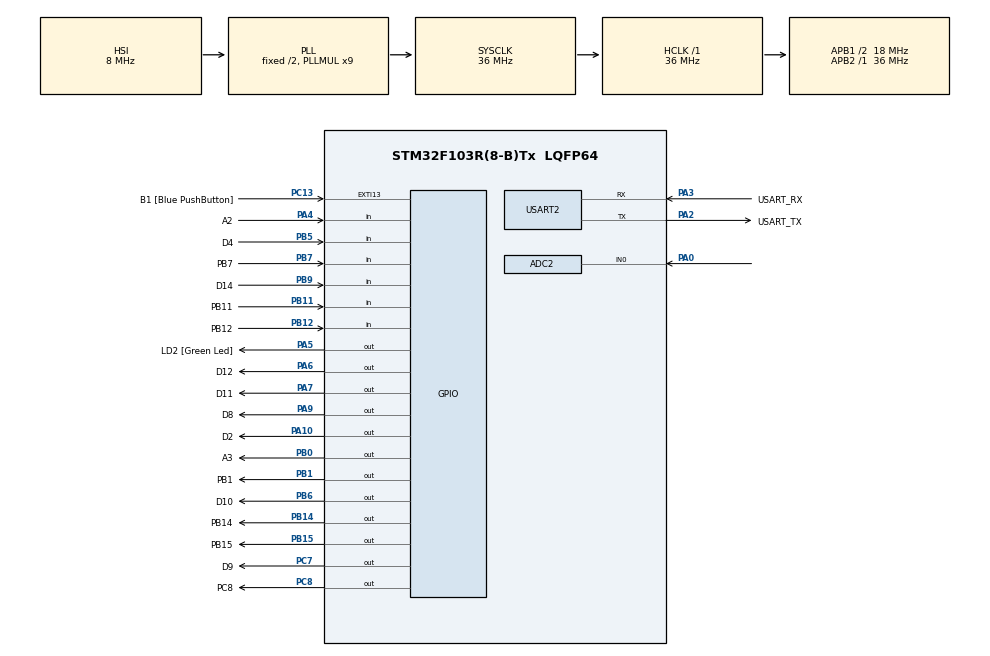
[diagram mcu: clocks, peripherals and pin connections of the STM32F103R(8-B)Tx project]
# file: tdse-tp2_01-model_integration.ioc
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ADC1.Channel-2\#ChannelRegularConversion=ADC_CHANNEL_TEMPSENSOR
ADC1.ExternalTrigConv=ADC_SOFTWARE_START
ADC1.NbrOfConversion=1
ADC1.NbrOfConversionFlag=1
ADC1.Rank-2\#ChannelRegularConversion=1
ADC1.SamplingTime-2\#ChannelRegularConversion=ADC_SAMPLETIME_1CYCLE_5
ADC1.master=1
ADC2.Channel-0\#ChannelRegularConversion=ADC_CHANNEL_0
ADC2.NbrOfConversionFlag=1
ADC2.Rank-0\#ChannelRegularConversion=1
ADC2.SamplingTime-0\#ChannelRegularConversion=ADC_SAMPLETIME_1CYCLE_5
Mcu.Family=STM32F1
Mcu.Name=STM32F103R(8-B)Tx
Mcu.Package=LQFP64
NVIC.ADC1_2_IRQn=true\:0\:0\:false\:false\:true\:true\:true\:true
NVIC.PriorityGroup=NVIC_PRIORITYGROUP_4
PA0-WKUP.Signal=ADCx_IN0
PA10.GPIO_Label=D2
PA10.GPIO_PuPd=GPIO_PULLDOWN
PA10.Signal=GPIO_Output
PA13.GPIO_Label=TMS
PA13.Mode=Serial_Wire
PA13.Signal=SYS_JTMS-SWDIO
PA14.GPIO_Label=TCK
PA14.Mode=Serial_Wire
PA14.Signal=SYS_JTCK-SWCLK
PA2.GPIO_Label=USART_TX
PA2.GPIO_Mode=GPIO_MODE_AF_PP
PA2.GPIO_PuPd=GPIO_NOPULL
PA2.GPIO_Speed=GPIO_SPEED_FREQ_LOW
PA2.Mode=Asynchronous
PA2.Signal=USART2_TX
PA3.GPIO_Label=USART_RX
PA3.GPIO_Mode=GPIO_MODE_AF_PP
PA3.GPIO_PuPd=GPIO_NOPULL
PA3.GPIO_Speed=GPIO_SPEED_FREQ_LOW
PA3.Mode=Asynchronous
PA3.Signal=USART2_RX
PA4.GPIO_Label=A2
PA4.GPIO_PuPd=GPIO_PULLUP
PA4.Signal=GPIO_Input
PA5.GPIO_Label=LD2 [Green Led]
PA5.GPIO_ModeDefaultOutputPP=GPIO_MODE_OUTPUT_PP
PA5.GPIO_PuPd=GPIO_PULLDOWN
PA5.GPIO_Speed=GPIO_SPEED_FREQ_LOW
PA5.Signal=GPIO_Output
PA6.GPIO_Label=D12
PA6.GPIO_PuPd=GPIO_PULLDOWN
PA6.Signal=GPIO_Output
PA7.GPIO_Label=D11
PA7.GPIO_PuPd=GPIO_PULLDOWN
PA7.Signal=GPIO_Output
PA9.GPIO_Label=D8
PA9.GPIO_PuPd=GPIO_PULLDOWN
PA9.Signal=GPIO_Output
PB0.GPIO_Label=A3
PB0.GPIO_PuPd=GPIO_PULLDOWN
PB0.Signal=GPIO_Output
PB1.GPIO_Label=PB1
PB1.GPIO_PuPd=GPIO_PULLDOWN
PB1.Signal=GPIO_Output
PB11.GPIO_Label=PB11
PB11.GPIO_PuPd=GPIO_PULLUP
PB11.Signal=GPIO_Input
PB12.GPIO_Label=PB12
PB12.GPIO_PuPd=GPIO_PULLUP
PB12.Signal=GPIO_Input
PB14.GPIO_Label=PB14
PB14.GPIO_PuPd=GPIO_PULLDOWN
PB14.Signal=GPIO_Output
PB15.GPIO_Label=PB15
PB15.GPIO_PuPd=GPIO_PULLDOWN
PB15.Signal=GPIO_Output
PB3.GPIO_Label=SWO
PB3.Signal=SYS_JTDO-TRACESWO
PB5.GPIO_Label=D4
PB5.GPIO_PuPd=GPIO_PULLUP
PB5.Signal=GPIO_Input
PB6.GPIO_Label=D10
PB6.GPIO_PuPd=GPIO_PULLDOWN
PB6.Signal=GPIO_Output
PB7.GPIO_Label=PB7
PB7.GPIO_PuPd=GPIO_PULLUP
PB7.Signal=GPIO_Input
PB9.GPIO_Label=D14
PB9.GPIO_PuPd=GPIO_PULLUP
PB9.Signal=GPIO_Input
PC13-TAMPER-RTC.GPIO_Label=B1 [Blue PushButton]
PC13-TAMPER-RTC.GPIO_PuPd=GPIO_NOPULL
PC13-TAMPER-RTC.Signal=GPXTI13
PC14-OSC32_IN.Mode=LSE-External-Oscillator
PC14-OSC32_IN.Signal=RCC_OSC32_IN
PC15-OSC32_OUT.Mode=LSE-External-Oscillator
PC15-OSC32_OUT.Signal=RCC_OSC32_OUT
PC7.GPIO_Label=D9
PC7.GPIO_PuPd=GPIO_PULLDOWN
PC7.Signal=GPIO_Output
PC8.GPIO_Label=PC8
PC8.GPIO_PuPd=GPIO_PULLDOWN
PC8.Signal=GPIO_Output
PD0-OSC_IN.Signal=RCC_OSC_IN
PD1-OSC_OUT.Signal=RCC_OSC_OUT
ProjectManager.HeapSize=0x200
ProjectManager.StackSize=0x400
ProjectManager.TargetToolchain=STM32CubeIDE
RCC.ADCPresc=RCC_ADCPCLK2_DIV6
RCC.AHBFreq_Value=36000000
RCC.APB1CLKDivider=RCC_HCLK_DIV2
RCC.APB1Freq_Value=18000000
RCC.APB1TimFreq_Value=36000000
RCC.APB2Freq_Value=36000000
RCC.APB2TimFreq_Value=36000000
RCC.HCLKFreq_Value=36000000
RCC.PLLMUL=RCC_PLL_MUL9
RCC.RTCClockSelection=RCC_RTCCLKSOURCE_LSE
RCC.SYSCLKFreq_VALUE=36000000
RCC.SYSCLKSource=RCC_SYSCLKSOURCE_PLLCLK
RCC.USBFreq_Value=36000000
SH.ADCx_IN0.0=ADC2_IN0,IN0
USART2.VirtualMode=VM_ASYNC
VP_ADC1_TempSens_Input.Mode=IN-TempSens
board=NUCLEO-F103RB

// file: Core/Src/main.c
/* USER CODE BEGIN Header */
/**
  ******************************************************************************
  * @file           : main.c
  * @brief          : Main program body
  ******************************************************************************
  * @attention
  *
  * Copyright (c) 2025 STMicroelectronics.
  * All rights reserved.
  *
  * This software is licensed under terms that can be found in the LICENSE file
  * in the root directory of this software component.
  * If no LICENSE file comes with this software, it is provided AS-IS.
  *
  ******************************************************************************
  */
/* USER CODE END Header */
#include "main.h"

/* USER CODE BEGIN Includes */

/* Demo includes. */
#include "logger.h"
#include "dwt.h"

/* Application includes. */
#include "app.h"
#include "stdio.h"
#include "string.h"

/* USER CODE END Includes */

/* USER CODE BEGIN PD */
#define AVG_SLOPE (4.3F)
#define V_AT_25C  (1.43F)
#define V_REF_INT (1.2F)
/* USER CODE END PD */

ADC_HandleTypeDef hadc1;
ADC_HandleTypeDef hadc2;

UART_HandleTypeDef huart2;

void SystemClock_Config(void);
static void MX_GPIO_Init(void);
static void MX_USART2_UART_Init(void);
static void MX_ADC1_Init(void);
static void MX_ADC2_Init(void);

/* USER CODE BEGIN 0 */
extern void initialise_monitor_handles(void);

/* USER CODE END 0 */

int main(void)
{

  /* USER CODE BEGIN 1 */
	initialise_monitor_handles();

  /* USER CODE END 1 */

  /* MCU Configuration--------------------------------------------------------*/

  /* Reset of all peripherals, Initializes the Flash interface and the Systick. */
  HAL_Init();

  /* Configure the system clock */
  SystemClock_Config();

  /* Initialize all configured peripherals */
  MX_GPIO_Init();
  MX_USART2_UART_Init();
  MX_ADC1_Init();
  MX_ADC2_Init();
  /* USER CODE BEGIN 2 */

	/* Application Init */
	app_init();

  /* USER CODE END 2 */

  /* Infinite loop */
  while (1)
  {

    /* USER CODE BEGIN 3 */

	  /* Application Update */
	  double start_time = HAL_GetTick();

	  app_update();

	  double end_time = HAL_GetTick();

	  double duracion = end_time -start_time;

  }
  /* USER CODE END 3 */
}

void SystemClock_Config(void)
{
  RCC_OscInitTypeDef RCC_OscInitStruct = {0};
  RCC_ClkInitTypeDef RCC_ClkInitStruct = {0};
  RCC_PeriphCLKInitTypeDef PeriphClkInit = {0};

  /** Initializes the RCC Oscillators according to the specified parameters
  * in the RCC_OscInitTypeDef structure.
  */
  RCC_OscInitStruct.OscillatorType = RCC_OSCILLATORTYPE_HSI;
  RCC_OscInitStruct.HSIState = RCC_HSI_ON;
  RCC_OscInitStruct.HSICalibrationValue = RCC_HSICALIBRATION_DEFAULT;
  RCC_OscInitStruct.PLL.PLLState = RCC_PLL_ON;
  RCC_OscInitStruct.PLL.PLLSource = RCC_PLLSOURCE_HSI_DIV2;
  RCC_OscInitStruct.PLL.PLLMUL = RCC_PLL_MUL9;
  if (HAL_RCC_OscConfig(&RCC_OscInitStruct) != HAL_OK)
  {
    Error_Handler();
  }

  /** Initializes the CPU, AHB and APB buses clocks
  */
  RCC_ClkInitStruct.ClockType = RCC_CLOCKTYPE_HCLK|RCC_CLOCKTYPE_SYSCLK
                              |RCC_CLOCKTYPE_PCLK1|RCC_CLOCKTYPE_PCLK2;
  RCC_ClkInitStruct.SYSCLKSource = RCC_SYSCLKSOURCE_PLLCLK;
  RCC_ClkInitStruct.AHBCLKDivider = RCC_SYSCLK_DIV1;
  RCC_ClkInitStruct.APB1CLKDivider = RCC_HCLK_DIV2;
  RCC_ClkInitStruct.APB2CLKDivider = RCC_HCLK_DIV1;

  if (HAL_RCC_ClockConfig(&RCC_ClkInitStruct, FLASH_LATENCY_1) != HAL_OK)
  {
    Error_Handler();
  }
  PeriphClkInit.PeriphClockSelection = RCC_PERIPHCLK_ADC;
  PeriphClkInit.AdcClockSelection = RCC_ADCPCLK2_DIV6;
  if (HAL_RCCEx_PeriphCLKConfig(&PeriphClkInit) != HAL_OK)
  {
    Error_Handler();
  }
}

static void MX_ADC1_Init(void)
{

  ADC_ChannelConfTypeDef sConfig = {0};

  /** Common config
  */
  hadc1.Instance = ADC1;
  hadc1.Init.ScanConvMode = ADC_SCAN_DISABLE;
  hadc1.Init.ContinuousConvMode = DISABLE;
  hadc1.Init.DiscontinuousConvMode = DISABLE;
  hadc1.Init.ExternalTrigConv = ADC_SOFTWARE_START;
  hadc1.Init.DataAlign = ADC_DATAALIGN_RIGHT;
  hadc1.Init.NbrOfConversion = 1;
  if (HAL_ADC_Init(&hadc1) != HAL_OK)
  {
    Error_Handler();
  }

  /** Configure Regular Channel
  */
  sConfig.Channel = ADC_CHANNEL_TEMPSENSOR;
  sConfig.Rank = ADC_REGULAR_RANK_1;
  sConfig.SamplingTime = ADC_SAMPLETIME_1CYCLE_5;
  if (HAL_ADC_ConfigChannel(&hadc1, &sConfig) != HAL_OK)
  {
    Error_Handler();
  }

}

static void MX_ADC2_Init(void)
{

  ADC_ChannelConfTypeDef sConfig = {0};

  /** Common config
  */
  hadc2.Instance = ADC2;
  hadc2.Init.ScanConvMode = ADC_SCAN_DISABLE;
  hadc2.Init.ContinuousConvMode = DISABLE;
  hadc2.Init.DiscontinuousConvMode = DISABLE;
  hadc2.Init.ExternalTrigConv = ADC_SOFTWARE_START;
  hadc2.Init.DataAlign = ADC_DATAALIGN_RIGHT;
  hadc2.Init.NbrOfConversion = 1;
  if (HAL_ADC_Init(&hadc2) != HAL_OK)
  {
    Error_Handler();
  }

  /** Configure Regular Channel
  */
  sConfig.Channel = ADC_CHANNEL_0;
  sConfig.Rank = ADC_REGULAR_RANK_1;
  sConfig.SamplingTime = ADC_SAMPLETIME_1CYCLE_5;
  if (HAL_ADC_ConfigChannel(&hadc2, &sConfig) != HAL_OK)
  {
    Error_Handler();
  }

}

static void MX_USART2_UART_Init(void)
{

  huart2.Instance = USART2;
  huart2.Init.BaudRate = 115200;
  huart2.Init.WordLength = UART_WORDLENGTH_8B;
  huart2.Init.StopBits = UART_STOPBITS_1;
  huart2.Init.Parity = UART_PARITY_NONE;
  huart2.Init.Mode = UART_MODE_TX_RX;
  huart2.Init.HwFlowCtl = UART_HWCONTROL_NONE;
  huart2.Init.OverSampling = UART_OVERSAMPLING_16;
  if (HAL_UART_Init(&huart2) != HAL_OK)
  {
    Error_Handler();
  }

}

static void MX_GPIO_Init(void)
{
  GPIO_InitTypeDef GPIO_InitStruct = {0};

  /* GPIO Ports Clock Enable */
  __HAL_RCC_GPIOC_CLK_ENABLE();
  __HAL_RCC_GPIOD_CLK_ENABLE();
  __HAL_RCC_GPIOA_CLK_ENABLE();
  __HAL_RCC_GPIOB_CLK_ENABLE();

  /*Configure GPIO pin Output Level */
  HAL_GPIO_WritePin(GPIOA, LD2_Pin|D12_Pin|D11_Pin|D8_Pin
                          |D2_Pin, GPIO_PIN_RESET);

  /*Configure GPIO pin Output Level */
  HAL_GPIO_WritePin(GPIOB, A3_Pin|PB1_Pin|PB14_Pin|PB15_Pin
                          |D10_Pin, GPIO_PIN_RESET);

  /*Configure GPIO pin Output Level */
  HAL_GPIO_WritePin(GPIOC, D9_Pin|PC8_Pin, GPIO_PIN_RESET);

  /*Configure GPIO pin : B1_Pin */
  GPIO_InitStruct.Pin = B1_Pin;
  GPIO_InitStruct.Mode = GPIO_MODE_IT_RISING;
  GPIO_InitStruct.Pull = GPIO_NOPULL;
  HAL_GPIO_Init(B1_GPIO_Port, &GPIO_InitStruct);

  /*Configure GPIO pin : A2_Pin */
  GPIO_InitStruct.Pin = A2_Pin;
  GPIO_InitStruct.Mode = GPIO_MODE_INPUT;
  GPIO_InitStruct.Pull = GPIO_PULLUP;
  HAL_GPIO_Init(A2_GPIO_Port, &GPIO_InitStruct);

  /*Configure GPIO pins : LD2_Pin D12_Pin D11_Pin D8_Pin
                           D2_Pin */
  GPIO_InitStruct.Pin = LD2_Pin|D12_Pin|D11_Pin|D8_Pin
                          |D2_Pin;
  GPIO_InitStruct.Mode = GPIO_MODE_OUTPUT_PP;
  GPIO_InitStruct.Pull = GPIO_PULLDOWN;
  GPIO_InitStruct.Speed = GPIO_SPEED_FREQ_LOW;
  HAL_GPIO_Init(GPIOA, &GPIO_InitStruct);

  /*Configure GPIO pins : A3_Pin PB1_Pin PB14_Pin PB15_Pin
                           D10_Pin */
  GPIO_InitStruct.Pin = A3_Pin|PB1_Pin|PB14_Pin|PB15_Pin
                          |D10_Pin;
  GPIO_InitStruct.Mode = GPIO_MODE_OUTPUT_PP;
  GPIO_InitStruct.Pull = GPIO_PULLDOWN;
  GPIO_InitStruct.Speed = GPIO_SPEED_FREQ_LOW;
  HAL_GPIO_Init(GPIOB, &GPIO_InitStruct);

  /*Configure GPIO pins : PB11_Pin PB12_Pin D4_Pin PB7_Pin
                           D14_Pin */
  GPIO_InitStruct.Pin = PB11_Pin|PB12_Pin|D4_Pin|PB7_Pin
                          |D14_Pin;
  GPIO_InitStruct.Mode = GPIO_MODE_INPUT;
  GPIO_InitStruct.Pull = GPIO_PULLUP;
  HAL_GPIO_Init(GPIOB, &GPIO_InitStruct);

  /*Configure GPIO pins : D9_Pin PC8_Pin */
  GPIO_InitStruct.Pin = D9_Pin|PC8_Pin;
  GPIO_InitStruct.Mode = GPIO_MODE_OUTPUT_PP;
  GPIO_InitStruct.Pull = GPIO_PULLDOWN;
  GPIO_InitStruct.Speed = GPIO_SPEED_FREQ_LOW;
  HAL_GPIO_Init(GPIOC, &GPIO_InitStruct);

}

void Error_Handler(void)
{
  __disable_irq();
  while (1)
  {
  }
}
